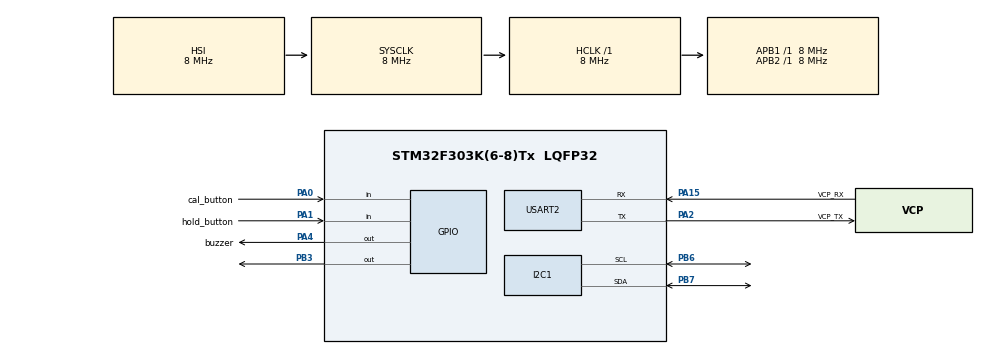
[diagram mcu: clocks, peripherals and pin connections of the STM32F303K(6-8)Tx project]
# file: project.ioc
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I2C1.Timing=0x00201D2B
Mcu.Family=STM32F3
Mcu.Name=STM32F303K(6-8)Tx
Mcu.Package=LQFP32
NVIC.PriorityGroup=NVIC_PRIORITYGROUP_4
PA0.GPIO_Label=cal_button
PA0.GPIO_PuPd=GPIO_PULLUP
PA0.Signal=GPIO_Input
PA1.GPIO_Label=hold_button
PA1.GPIO_PuPd=GPIO_PULLUP
PA1.Signal=GPIO_Input
PA13.GPIO_Label=SWDIO
PA13.Mode=Serial_Wire
PA13.Signal=SYS_JTMS-SWDIO
PA14.GPIO_Label=SWCLK
PA14.Mode=Serial_Wire
PA14.Signal=SYS_JTCK-SWCLK
PA15.GPIO_Label=VCP_RX
PA15.Mode=Asynchronous
PA15.Signal=USART2_RX
PA2.GPIO_Label=VCP_TX
PA2.Mode=Asynchronous
PA2.Signal=USART2_TX
PA4.GPIO_Label=buzzer
PA4.GPIO_Speed=GPIO_SPEED_FREQ_HIGH
PA4.Signal=GPIO_Output
PB3.Signal=GPIO_Output
PB6.Mode=I2C
PB6.Signal=I2C1_SCL
PB7.Mode=I2C
PB7.Signal=I2C1_SDA
PF0\ /\ OSC_IN.GPIO_Label=MCO
PF0\ /\ OSC_IN.Mode=HSE-External-Clock-Source
PF0\ /\ OSC_IN.Signal=RCC_OSC_IN
ProjectManager.HeapSize=0x200
ProjectManager.StackSize=0x400
ProjectManager.TargetToolchain=STM32CubeIDE
RCC.AHBFreq_Value=8000000
RCC.APB1Freq_Value=8000000
RCC.APB2Freq_Value=8000000
RCC.CortexFreq_Value=8000000
RCC.HSE_VALUE=8000000
RCC.HSI_VALUE=8000000
RCC.SYSCLKFreq_VALUE=8000000
USART2.VirtualMode-Asynchronous=VM_ASYNC
board=NUCLEO-F303K8

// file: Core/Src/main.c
/* USER CODE BEGIN Header */
/**
  ******************************************************************************
  * @file           : main.c
  * @brief          : Main program body
  ******************************************************************************
  * @attention
  *
  * Copyright (c) 2026 STMicroelectronics.
  * All rights reserved.
  *
  * This software is licensed under terms that can be found in the LICENSE file
  * in the root directory of this software component.
  * If no LICENSE file comes with this software, it is provided AS-IS.
  *
  ******************************************************************************
  */
/* USER CODE END Header */
#include "main.h"

/* USER CODE BEGIN Includes */
#include <stdio.h>
#include <math.h>
#include "oled_text.h"
/* USER CODE END Includes */

I2C_HandleTypeDef hi2c1;

UART_HandleTypeDef huart2;

/* USER CODE BEGIN PV */

int16_t accelX;
int16_t accelY;
int16_t accelZ;
char uartBuffer[160];
float pitch;
float roll;
float accelMagnitude;
float vibration;
char *stabilityStatus;
float rawPitch;
float rawRoll;
float pitchOffset = 0.0f;
float rollOffset = 0.0f;
GPIO_PinState lastCalButtonState = GPIO_PIN_SET;
float heldPitch = 0.0f;
float heldRoll = 0.0f;
float displayedPitch;
float displayedRoll;

uint8_t holdActive = 0;
GPIO_PinState lastHoldButtonState = GPIO_PIN_SET;
uint8_t warningActive = 0;
float filteredPitch = 0.0f;
float filteredRoll = 0.0f;

float rawVibration = 0.0f;
float filteredVibration = 0.0f;

uint8_t filterInitialized = 0;

/* USER CODE END PV */

void SystemClock_Config(void);
static void MX_GPIO_Init(void);
static void MX_USART2_UART_Init(void);
static void MX_I2C1_Init(void);

/* USER CODE BEGIN 0 */
#define MPU6050_ADDR (0x68 << 1)

void MPU6050_Init(void)
{
  uint8_t data = 0x00;

  // Write 0 to PWR_MGMT_1 to wake the MPU6050
  HAL_I2C_Mem_Write(&hi2c1, MPU6050_ADDR, 0x6B,
                    I2C_MEMADD_SIZE_8BIT, &data, 1, 100);
}

void MPU6050_ReadAccel(int16_t *ax, int16_t *ay, int16_t *az)
{
  uint8_t data[6];

  HAL_I2C_Mem_Read(&hi2c1, MPU6050_ADDR, 0x3B,
                   I2C_MEMADD_SIZE_8BIT, data, 6, 100);

  *ax = (int16_t)(data[0] << 8 | data[1]);
  *ay = (int16_t)(data[2] << 8 | data[3]);
  *az = (int16_t)(data[4] << 8 | data[5]);
}

#define OLED_ADDR (0x3C << 1)

void OLED_Command(uint8_t command)
{
  HAL_I2C_Mem_Write(&hi2c1, OLED_ADDR, 0x00,
                    I2C_MEMADD_SIZE_8BIT, &command, 1, 100);
}

void OLED_Init(void)
{
  HAL_Delay(100);

  OLED_Command(0xAE); // Display off
  OLED_Command(0x20); // Memory addressing mode
  OLED_Command(0x00); // Horizontal addressing
  OLED_Command(0xB0);
  OLED_Command(0xC8);
  OLED_Command(0x00);
  OLED_Command(0x10);
  OLED_Command(0x40);
  OLED_Command(0x81); // Contrast
  OLED_Command(0xFF);
  OLED_Command(0xA1);
  OLED_Command(0xA6); // Normal display
  OLED_Command(0xA8);
  OLED_Command(0x3F);
  OLED_Command(0xA4);
  OLED_Command(0xD3);
  OLED_Command(0x00);
  OLED_Command(0xD5);
  OLED_Command(0xF0);
  OLED_Command(0xD9);
  OLED_Command(0x22);
  OLED_Command(0xDA);
  OLED_Command(0x12);
  OLED_Command(0xDB);
  OLED_Command(0x20);
  OLED_Command(0x8D); // Charge pump
  OLED_Command(0x14);
  OLED_Command(0xAF); // Display on
}

void OLED_TestPattern(void)
{
  uint8_t pattern[128];

  for (uint8_t page = 0; page < 8; page++)
  {
    OLED_Command(0xB0 + page);
    OLED_Command(0x00);
    OLED_Command(0x10);

    for (uint8_t column = 0; column < 128; column++)
    {
      pattern[column] = (column % 2 == 0) ? 0xAA : 0x55;
    }

    HAL_I2C_Mem_Write(&hi2c1, OLED_ADDR, 0x40,
                      I2C_MEMADD_SIZE_8BIT, pattern, 128, 100);
  }
}
/* USER CODE END 0 */

int main(void)
{

  /* MCU Configuration--------------------------------------------------------*/

  /* Reset of all peripherals, Initializes the Flash interface and the Systick. */
  HAL_Init();

  /* Configure the system clock */
  SystemClock_Config();

  /* Initialize all configured peripherals */
  MX_GPIO_Init();
  MX_USART2_UART_Init();
  MX_I2C1_Init();
  /* USER CODE BEGIN 2 */
  OLED_Text_Init(&hi2c1);
  MPU6050_Init();
  /* USER CODE END 2 */

  /* Infinite loop */
  while (1)
  {

    /* USER CODE BEGIN 3 */
	  MPU6050_ReadAccel(&accelX, &accelY, &accelZ);

	    // Calculate uncalibrated pitch
	    rawPitch = atan2f(
	        -(float)accelX,
	        sqrtf(
	            (float)accelY * accelY +
	            (float)accelZ * accelZ
	        )
	    ) * 57.2958f;

	    // Calculate uncalibrated roll
	    rawRoll = atan2f(
	        (float)accelY,
	        (float)accelZ
	    ) * 57.2958f;

	    // Read calibration button on PA0/A0
	    GPIO_PinState calButtonState =
	        HAL_GPIO_ReadPin(GPIOA, GPIO_PIN_0);

	    // Calibrate once when button is pressed
	    if ((calButtonState == GPIO_PIN_RESET) &&
	        (lastCalButtonState == GPIO_PIN_SET))
	    {
	      pitchOffset = rawPitch;
	      rollOffset = rawRoll;

	      // Immediately reset the filtered angles to zero
	      filteredPitch = 0.0f;
	      filteredRoll = 0.0f;
	      filterInitialized = 1;

	      HAL_GPIO_WritePin(GPIOB, GPIO_PIN_3, GPIO_PIN_SET);
	    }

	    if (calButtonState == GPIO_PIN_SET)
	    {
	      HAL_GPIO_WritePin(GPIOB, GPIO_PIN_3, GPIO_PIN_RESET);
	    }

	    lastCalButtonState = calButtonState;

	    // Apply calibration
	    float measuredPitch = rawPitch - pitchOffset;
	    float measuredRoll = rawRoll - rollOffset;

	    if (!filterInitialized)
	    {
	      // Use the first measurement directly
	      filteredPitch = measuredPitch;
	      filteredRoll = measuredRoll;
	      filterInitialized = 1;
	    }
	    else
	    {
	      // 85% previous value and 15% new measurement
	      filteredPitch =
	          (0.70f * filteredPitch) + (0.30f * measuredPitch);

	      filteredRoll =
	          (0.70f * filteredRoll) + (0.30f * measuredRoll);
	    }

	    pitch = filteredPitch;
	    roll = filteredRoll;

	    // Read Hold button on PA1/A1
	    GPIO_PinState holdButtonState =
	        HAL_GPIO_ReadPin(GPIOA, GPIO_PIN_1);

	    // Toggle Hold mode once per button press
	    if ((holdButtonState == GPIO_PIN_RESET) &&
	        (lastHoldButtonState == GPIO_PIN_SET))
	    {
	      holdActive = !holdActive;

	      // Capture the current angles when Hold is activated
	      if (holdActive)
	      {
	        heldPitch = pitch;
	        heldRoll = roll;
	      }
	    }

	    lastHoldButtonState = holdButtonState;

	    // Select live or held values for the future OLED display
	    if (holdActive)
	    {
	      displayedPitch = heldPitch;
	      displayedRoll = heldRoll;
	    }
	    else
	    {
	      displayedPitch = pitch;
	      displayedRoll = roll;
	    }

	    // Calculate total acceleration
	    accelMagnitude = sqrtf(
	        (float)accelX * accelX +
	        (float)accelY * accelY +
	        (float)accelZ * accelZ
	    ) / 16384.0f;

	    // Calculate vibration
	    rawVibration = fabsf(accelMagnitude - 1.0f);

	    // Smooth the displayed vibration value
	    filteredVibration =
	        (0.70f * filteredVibration) +
	        (0.30f * rawVibration);

	    vibration = filteredVibration;

	    // Determine stability status
	    if (vibration < 0.08f)
	    {
	      stabilityStatus = "STABLE";
	    }
	    else if (vibration < 0.20f)
	    {
	      stabilityStatus = "MOVING";
	    }
	    else
	    {
	      stabilityStatus = "HIGH VIBRATION";
	    }

	    // Activate warning for excessive live tilt or high vibration
	    if ((fabsf(measuredPitch) > 4.0f) ||
	        (fabsf(measuredRoll) > 4.0f) ||
	        (rawVibration >= 0.20f))
	    {
	      warningActive = 1;

	      // Active-low buzzer: LOW turns it on
	      HAL_GPIO_WritePin(GPIOA, GPIO_PIN_4, GPIO_PIN_RESET);
	    }
	    else
	    {
	      warningActive = 0;

	      // Active-low buzzer: HIGH turns it off
	      HAL_GPIO_WritePin(GPIOA, GPIO_PIN_4, GPIO_PIN_SET);
	    }

	    int vibrationMg = (int)(vibration * 1000.0f);
	    // Create the OLED screen
	    char displayLine[22];

	    OLED_Text_Clear();

	    // Pitch line
	    OLED_Text_SetCursor(0, 0);
	    snprintf(displayLine, sizeof(displayLine),
	             "PITCH:%4d DEG", (int)displayedPitch);
	    OLED_Text_WriteString(displayLine);

	    // Roll line
	    OLED_Text_SetCursor(0, 1);
	    snprintf(displayLine, sizeof(displayLine),
	             "ROLL :%4d DEG", (int)displayedRoll);
	    OLED_Text_WriteString(displayLine);

	    // Vibration line
	    OLED_Text_SetCursor(0, 2);
	    snprintf(displayLine, sizeof(displayLine),
	             "VIB  :%4d MG", vibrationMg);
	    OLED_Text_WriteString(displayLine);

	    // Stability line
	    OLED_Text_SetCursor(0, 4);
	    OLED_Text_WriteString(stabilityStatus);

	    // Hold status
	    OLED_Text_SetCursor(0, 5);

	    if (holdActive)
	    {
	      OLED_Text_WriteString("HOLD : ON");
	    }
	    else
	    {
	      OLED_Text_WriteString("HOLD : OFF");
	    }

	    OLED_Text_SetCursor(0, 6);

	    if (warningActive)
	    {
	      OLED_Text_WriteString("ALARM: ON");
	    }
	    else
	    {
	      OLED_Text_WriteString("ALARM: OFF");
	    }
	    // Button reminder
	    OLED_Text_SetCursor(0, 7);
	    OLED_Text_WriteString("CAL:A0 HOLD:A1");

	    // Transfer the completed screen to the OLED
	    OLED_Text_Update();

	    // UART shows both live and held/displayed measurements
	    int length = sprintf(
	        uartBuffer,
	        "Live P=%d R=%d | Display P=%d R=%d | Vib=%d mg | %s | Hold=%s\r\n",
	        (int)pitch,
	        (int)roll,
	        (int)displayedPitch,
	        (int)displayedRoll,
	        vibrationMg,
	        stabilityStatus,
	        holdActive ? "ON" : "OFF"
	    );

	    HAL_UART_Transmit(
	        &huart2,
	        (uint8_t *)uartBuffer,
	        length,
	        100
	    );

	    HAL_Delay(50);
	  }
  /* USER CODE END 3 */
}

void SystemClock_Config(void)
{
  RCC_OscInitTypeDef RCC_OscInitStruct = {0};
  RCC_ClkInitTypeDef RCC_ClkInitStruct = {0};
  RCC_PeriphCLKInitTypeDef PeriphClkInit = {0};

  /** Initializes the RCC Oscillators according to the specified parameters
  * in the RCC_OscInitTypeDef structure.
  */
  RCC_OscInitStruct.OscillatorType = RCC_OSCILLATORTYPE_HSI;
  RCC_OscInitStruct.HSIState = RCC_HSI_ON;
  RCC_OscInitStruct.HSICalibrationValue = RCC_HSICALIBRATION_DEFAULT;
  RCC_OscInitStruct.PLL.PLLState = RCC_PLL_NONE;
  if (HAL_RCC_OscConfig(&RCC_OscInitStruct) != HAL_OK)
  {
    Error_Handler();
  }

  /** Initializes the CPU, AHB and APB buses clocks
  */
  RCC_ClkInitStruct.ClockType = RCC_CLOCKTYPE_HCLK|RCC_CLOCKTYPE_SYSCLK
                              |RCC_CLOCKTYPE_PCLK1|RCC_CLOCKTYPE_PCLK2;
  RCC_ClkInitStruct.SYSCLKSource = RCC_SYSCLKSOURCE_HSI;
  RCC_ClkInitStruct.AHBCLKDivider = RCC_SYSCLK_DIV1;
  RCC_ClkInitStruct.APB1CLKDivider = RCC_HCLK_DIV1;
  RCC_ClkInitStruct.APB2CLKDivider = RCC_HCLK_DIV1;

  if (HAL_RCC_ClockConfig(&RCC_ClkInitStruct, FLASH_LATENCY_0) != HAL_OK)
  {
    Error_Handler();
  }
  PeriphClkInit.PeriphClockSelection = RCC_PERIPHCLK_I2C1;
  PeriphClkInit.I2c1ClockSelection = RCC_I2C1CLKSOURCE_HSI;
  if (HAL_RCCEx_PeriphCLKConfig(&PeriphClkInit) != HAL_OK)
  {
    Error_Handler();
  }
}

static void MX_I2C1_Init(void)
{

  hi2c1.Instance = I2C1;
  hi2c1.Init.Timing = 0x00201D2B;
  hi2c1.Init.OwnAddress1 = 0;
  hi2c1.Init.AddressingMode = I2C_ADDRESSINGMODE_7BIT;
  hi2c1.Init.DualAddressMode = I2C_DUALADDRESS_DISABLE;
  hi2c1.Init.OwnAddress2 = 0;
  hi2c1.Init.OwnAddress2Masks = I2C_OA2_NOMASK;
  hi2c1.Init.GeneralCallMode = I2C_GENERALCALL_DISABLE;
  hi2c1.Init.NoStretchMode = I2C_NOSTRETCH_DISABLE;
  if (HAL_I2C_Init(&hi2c1) != HAL_OK)
  {
    Error_Handler();
  }

  /** Configure Analogue filter
  */
  if (HAL_I2CEx_ConfigAnalogFilter(&hi2c1, I2C_ANALOGFILTER_ENABLE) != HAL_OK)
  {
    Error_Handler();
  }

  /** Configure Digital filter
  */
  if (HAL_I2CEx_ConfigDigitalFilter(&hi2c1, 0) != HAL_OK)
  {
    Error_Handler();
  }

}

static void MX_USART2_UART_Init(void)
{

  huart2.Instance = USART2;
  huart2.Init.BaudRate = 38400;
  huart2.Init.WordLength = UART_WORDLENGTH_8B;
  huart2.Init.StopBits = UART_STOPBITS_1;
  huart2.Init.Parity = UART_PARITY_NONE;
  huart2.Init.Mode = UART_MODE_TX_RX;
  huart2.Init.HwFlowCtl = UART_HWCONTROL_NONE;
  huart2.Init.OverSampling = UART_OVERSAMPLING_16;
  huart2.Init.OneBitSampling = UART_ONE_BIT_SAMPLE_DISABLE;
  huart2.AdvancedInit.AdvFeatureInit = UART_ADVFEATURE_NO_INIT;
  if (HAL_UART_Init(&huart2) != HAL_OK)
  {
    Error_Handler();
  }

}

static void MX_GPIO_Init(void)
{
  GPIO_InitTypeDef GPIO_InitStruct = {0};

  /* GPIO Ports Clock Enable */
  __HAL_RCC_GPIOF_CLK_ENABLE();
  __HAL_RCC_GPIOA_CLK_ENABLE();
  __HAL_RCC_GPIOB_CLK_ENABLE();

  /*Configure GPIO pin Output Level */
  HAL_GPIO_WritePin(buzzer_GPIO_Port, buzzer_Pin, GPIO_PIN_RESET);

  /*Configure GPIO pin Output Level */
  HAL_GPIO_WritePin(GPIOB, GPIO_PIN_3, GPIO_PIN_RESET);

  /*Configure GPIO pins : cal_button_Pin hold_button_Pin */
  GPIO_InitStruct.Pin = cal_button_Pin|hold_button_Pin;
  GPIO_InitStruct.Mode = GPIO_MODE_INPUT;
  GPIO_InitStruct.Pull = GPIO_PULLUP;
  HAL_GPIO_Init(GPIOA, &GPIO_InitStruct);

  /*Configure GPIO pin : buzzer_Pin */
  GPIO_InitStruct.Pin = buzzer_Pin;
  GPIO_InitStruct.Mode = GPIO_MODE_OUTPUT_PP;
  GPIO_InitStruct.Pull = GPIO_NOPULL;
  GPIO_InitStruct.Speed = GPIO_SPEED_FREQ_HIGH;
  HAL_GPIO_Init(buzzer_GPIO_Port, &GPIO_InitStruct);

  /*Configure GPIO pin : PB3 */
  GPIO_InitStruct.Pin = GPIO_PIN_3;
  GPIO_InitStruct.Mode = GPIO_MODE_OUTPUT_PP;
  GPIO_InitStruct.Pull = GPIO_NOPULL;
  GPIO_InitStruct.Speed = GPIO_SPEED_FREQ_LOW;
  HAL_GPIO_Init(GPIOB, &GPIO_InitStruct);

}

void Error_Handler(void)
{
  __disable_irq();
  while (1)
  {
  }
}
